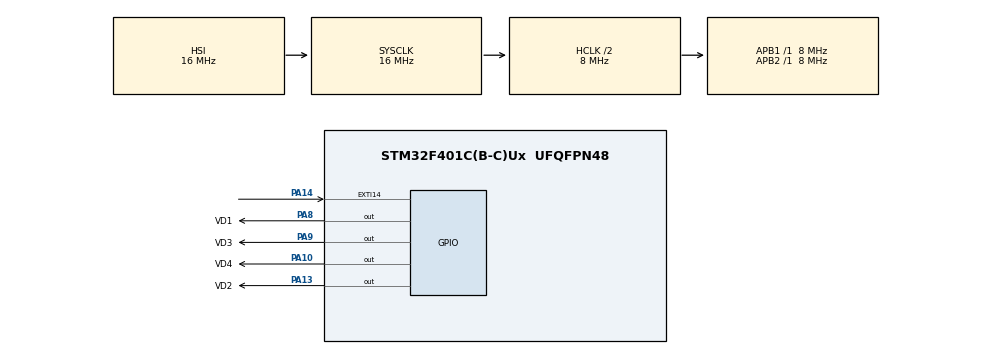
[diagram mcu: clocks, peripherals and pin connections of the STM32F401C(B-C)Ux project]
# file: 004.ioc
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Mcu.Family=STM32F4
Mcu.Name=STM32F401C(B-C)Ux
Mcu.Package=UFQFPN48
NVIC.EXTI15_10_IRQn=true\:0\:0\:false\:true\:true\:1\:true\:true\:true
NVIC.PriorityGroup=NVIC_PRIORITYGROUP_4
NVIC.TIM2_IRQn=true\:0\:0\:false\:true\:true\:2\:true\:true\:true
NVIC.TIM3_IRQn=true\:0\:0\:false\:true\:true\:3\:true\:true\:true
NVIC.TIM4_IRQn=true\:0\:0\:false\:true\:true\:4\:true\:true\:true
PA10.GPIO_Label=VD4
PA10.Signal=GPIO_Output
PA13.GPIO_Label=VD2
PA13.Signal=GPIO_Output
PA14.Signal=GPXTI14
PA8.GPIO_Label=VD1
PA8.Signal=GPIO_Output
PA9.GPIO_Label=VD3
PA9.Signal=GPIO_Output
ProjectManager.HeapSize=0x200
ProjectManager.StackSize=0x400
ProjectManager.TargetToolchain=STM32CubeIDE
RCC.AHBCLKDivider=RCC_SYSCLK_DIV2
RCC.AHBFreq_Value=8000000
RCC.APB1Freq_Value=8000000
RCC.APB1TimFreq_Value=8000000
RCC.APB2Freq_Value=8000000
RCC.APB2TimFreq_Value=8000000
RCC.CortexFreq_Value=8000000
RCC.HCLKFreq_Value=8000000
RCC.HSE_VALUE=25000000
RCC.HSI_VALUE=16000000
RCC.LSE_VALUE=32768
RCC.SYSCLKFreq_VALUE=16000000
RCC.VCOOutputFreq_Value=192000000
TIM2.Period=200
TIM2.Prescaler=8000
TIM2.TIM_MasterOutputTrigger=TIM_TRGO_UPDATE
TIM3.Period=400
TIM3.Prescaler=8000
TIM3.TIM_MasterOutputTrigger=TIM_TRGO_UPDATE
TIM4.Period=600
TIM4.Prescaler=8000
TIM4.TIM_MasterOutputTrigger=TIM_TRGO_UPDATE
VP_TIM2_VS_ClockSourceINT.Mode=Internal
VP_TIM3_VS_ClockSourceINT.Mode=Internal
VP_TIM4_VS_ClockSourceINT.Mode=Internal
board=custom

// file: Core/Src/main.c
/* USER CODE BEGIN Header */
/**
  ******************************************************************************
  * @file           : main.c
  * @brief          : Main program body
  ******************************************************************************
  * @attention
  *
  * Copyright (c) 2022 STMicroelectronics.
  * All rights reserved.
  *
  * This software is licensed under terms that can be found in the LICENSE file
  * in the root directory of this software component.
  * If no LICENSE file comes with this software, it is provided AS-IS.
  *
  ******************************************************************************
  */
/* USER CODE END Header */
#include "main.h"
#include "tim.h"
#include "gpio.h"

/* USER CODE BEGIN PV */
	int S = 0;
/* USER CODE END PV */

void SystemClock_Config(void);
static void MX_NVIC_Init(void);

int main(void)
{

  /* MCU Configuration--------------------------------------------------------*/

  /* Reset of all peripherals, Initializes the Flash interface and the Systick. */
  HAL_Init();

  /* Configure the system clock */
  SystemClock_Config();

  /* Initialize all configured peripherals */
  MX_GPIO_Init();
  MX_TIM2_Init();
  MX_TIM3_Init();
  MX_TIM4_Init();

  /* Initialize interrupts */
  MX_NVIC_Init();
  /* USER CODE BEGIN 2 */

  //HAL_TIM_Base_Stop_IT(&htim2);
  /* USER CODE END 2 */

  /* Infinite loop */
  while (1)
{

    /* USER CODE BEGIN 3 */

	  if(HAL_GPIO_ReadPin(GPIOA, GPIO_PIN_14) == GPIO_PIN_RESET)
		  S = 0;

	  if (S == 0)
	    {
	    HAL_TIM_Base_Start_IT(&htim2);
	    HAL_TIM_Base_Start_IT(&htim3);
	    HAL_TIM_Base_Start_IT(&htim4);
	    }else
	    {
	  	  HAL_TIM_Base_Stop_IT(&htim2);
	  	  HAL_TIM_Base_Stop_IT(&htim3);
	  	  HAL_TIM_Base_Stop_IT(&htim4);
	    }

	  HAL_GPIO_TogglePin(VD2_GPIO_Port, VD2_Pin);
	  HAL_Delay(500);
}
  /* USER CODE END 3 */
}

void SystemClock_Config(void)
{
  RCC_OscInitTypeDef RCC_OscInitStruct = {0};
  RCC_ClkInitTypeDef RCC_ClkInitStruct = {0};

  /** Configure the main internal regulator output voltage
  */
  __HAL_RCC_PWR_CLK_ENABLE();
  __HAL_PWR_VOLTAGESCALING_CONFIG(PWR_REGULATOR_VOLTAGE_SCALE2);

  /** Initializes the RCC Oscillators according to the specified parameters
  * in the RCC_OscInitTypeDef structure.
  */
  RCC_OscInitStruct.OscillatorType = RCC_OSCILLATORTYPE_HSI;
  RCC_OscInitStruct.HSIState = RCC_HSI_ON;
  RCC_OscInitStruct.HSICalibrationValue = RCC_HSICALIBRATION_DEFAULT;
  RCC_OscInitStruct.PLL.PLLState = RCC_PLL_NONE;
  if (HAL_RCC_OscConfig(&RCC_OscInitStruct) != HAL_OK)
  {
    Error_Handler();
  }

  /** Initializes the CPU, AHB and APB buses clocks
  */
  RCC_ClkInitStruct.ClockType = RCC_CLOCKTYPE_HCLK|RCC_CLOCKTYPE_SYSCLK
                              |RCC_CLOCKTYPE_PCLK1|RCC_CLOCKTYPE_PCLK2;
  RCC_ClkInitStruct.SYSCLKSource = RCC_SYSCLKSOURCE_HSI;
  RCC_ClkInitStruct.AHBCLKDivider = RCC_SYSCLK_DIV2;
  RCC_ClkInitStruct.APB1CLKDivider = RCC_HCLK_DIV1;
  RCC_ClkInitStruct.APB2CLKDivider = RCC_HCLK_DIV1;

  if (HAL_RCC_ClockConfig(&RCC_ClkInitStruct, FLASH_LATENCY_0) != HAL_OK)
  {
    Error_Handler();
  }
}

/**
  * @brief NVIC Configuration.
  * @retval None
  */
static void MX_NVIC_Init(void)
{
  /* EXTI15_10_IRQn interrupt configuration */
  HAL_NVIC_SetPriority(EXTI15_10_IRQn, 0, 0);
  HAL_NVIC_EnableIRQ(EXTI15_10_IRQn);
  /* TIM2_IRQn interrupt configuration */
  HAL_NVIC_SetPriority(TIM2_IRQn, 0, 0);
  HAL_NVIC_EnableIRQ(TIM2_IRQn);
  /* TIM3_IRQn interrupt configuration */
  HAL_NVIC_SetPriority(TIM3_IRQn, 0, 0);
  HAL_NVIC_EnableIRQ(TIM3_IRQn);
  /* TIM4_IRQn interrupt configuration */
  HAL_NVIC_SetPriority(TIM4_IRQn, 0, 0);
  HAL_NVIC_EnableIRQ(TIM4_IRQn);
}

/* USER CODE BEGIN 4 */

void HAL_GPIO_EXTI_Callback(uint16_t GPIO_Pin)
	{
		if (GPIO_Pin == GPIO_PIN_14)
		{
			S = 1;
		}else S = 0;
	}

void HAL_TIM_PeriodElapsedCallback(TIM_HandleTypeDef *htim)
{
	if (htim-> Instance == TIM2)
		{
			HAL_GPIO_TogglePin(GPIOA, GPIO_PIN_8);
		}

	if (htim-> Instance == TIM3)
		{
			HAL_GPIO_TogglePin(GPIOA, GPIO_PIN_9);
		}

	if (htim-> Instance == TIM4)
		{
			HAL_GPIO_TogglePin(GPIOA, GPIO_PIN_10);
		}
	}

/* USER CODE END 4 */

void Error_Handler(void)
{
  __disable_irq();
  while (1)
  {
  }
}
